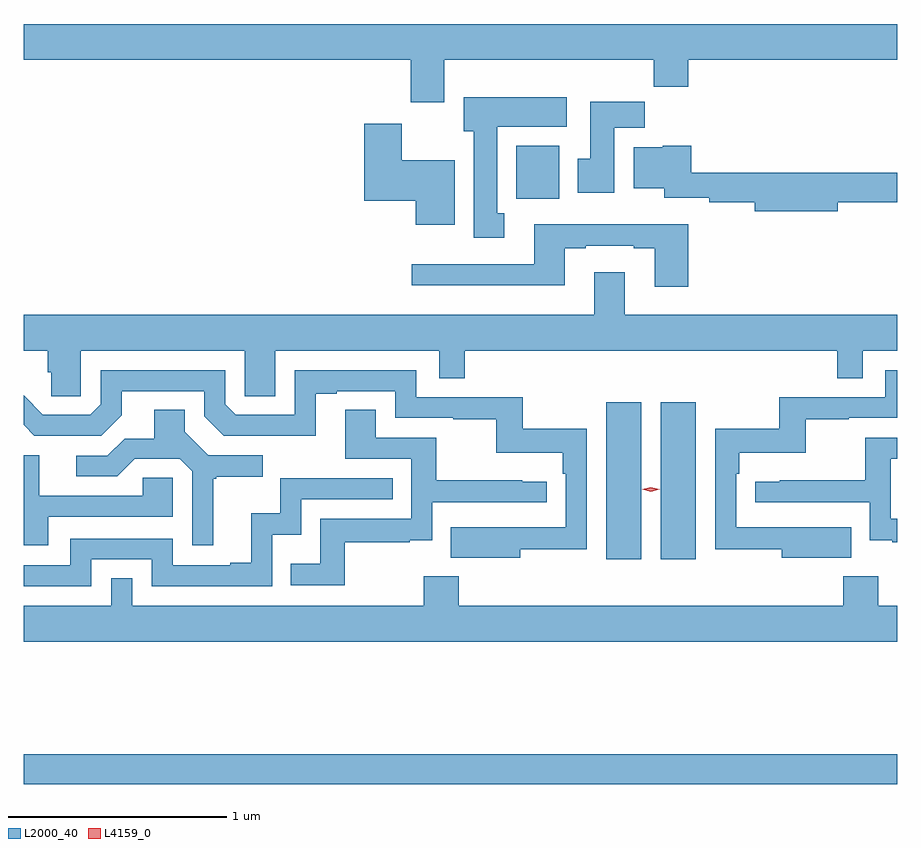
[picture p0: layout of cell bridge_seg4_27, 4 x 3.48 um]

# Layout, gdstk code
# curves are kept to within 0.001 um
import gdstk
lib = gdstk.Library(unit=1e-6, precision=1e-09)
def R(c, l, rs):  # rectangles x0, y0, x1, y1
    for r in rs: c.add(gdstk.rectangle(r[:2], r[2:], *l))
def P(c, l, *ps):  # polygons
    for p in ps: c.add(gdstk.Polygon(p, *l))
L2000_40 = (2000, 40)
L4159_0 = (4159, 0)

bridge_seg4_27 = lib.new_cell('bridge_seg4_27')
R(bridge_seg4_27, L2000_40, [(1116.374,776.188,1120.374,776.324), (1119.041,777.216,1119.202,777.937), (1119.29,777.216,1119.451,777.937), (1118.63,778.868,1118.827,779.11)])
P(bridge_seg4_27, L2000_40, [(1118.299,779.504),(1119.259,779.504),(1119.259,779.38),(1119.416,779.38),(1119.416,779.504),(1120.374,779.504),(1120.374,779.668),(1116.374,779.668),(1116.374,779.504),(1118.147,779.504),(1118.147,779.31),(1118.299,779.31)],
  [(1118.575,778.802),(1118.542,778.802),(1118.542,779.198),(1118.86,779.198),(1118.86,779.332),(1118.39,779.332),(1118.39,779.178),(1118.435,779.178),(1118.435,778.689),(1118.575,778.689)],
  [(1119.079,779.192),(1119.218,779.192),(1119.218,779.311),(1118.969,779.311),(1118.969,779.052),(1118.912,779.052),(1118.912,778.896),(1119.079,778.896)],
  [(1118.347,779.044),(1118.104,779.044),(1118.104,779.212),(1117.934,779.212),(1117.934,778.859),(1118.168,778.859),(1118.168,778.748),(1118.347,778.748)],
  [(1120.102,778.852),(1120.374,778.852),(1120.374,778.988),(1119.431,778.988),(1119.431,779.11),(1119.3,779.11),(1119.3,779.104),(1119.167,779.104),(1119.167,778.916),(1119.308,778.916),(1119.308,778.872),(1119.514,778.872),(1119.514,778.852),(1119.722,778.852),(1119.722,778.81),(1120.102,778.81)],
  [(1119.416,778.75),(1118.711,778.75),(1118.711,778.569),(1118.151,778.569),(1118.151,778.472),(1118.851,778.472),(1118.851,778.641),(1118.947,778.641),(1118.947,778.653),(1119.167,778.653),(1119.167,778.641),(1119.263,778.641),(1119.263,778.464),(1119.416,778.464)],
  [(1116.636,778.172),(1117.386,778.172),(1117.386,777.964),(1117.525,777.964),(1117.525,778.172),(1118.277,778.172),(1118.277,778.045),(1118.393,778.045),(1118.393,778.172),(1120.099,778.172),(1120.099,778.045),(1120.215,778.045),(1120.215,778.172),(1120.374,778.172),(1120.374,778.336),(1119.127,778.336),(1119.127,778.531),(1118.987,778.531),(1118.987,778.336),(1116.374,778.336),(1116.374,778.172),(1116.485,778.172),(1116.485,778.074),(1116.499,778.074),(1116.499,777.964),(1116.636,777.964)],
  [(1118.647,777.262),(1118.952,777.262),(1118.952,777.814),(1118.659,777.814),(1118.659,777.96),(1118.172,777.96),(1118.172,778.083),(1117.614,778.083),(1117.614,777.879),(1117.344,777.879),(1117.296,777.927),(1117.296,778.083),(1116.726,778.083),(1116.726,777.927),(1116.678,777.879),(1116.462,777.879),(1116.374,777.967),(1116.374,777.832),(1116.423,777.783),(1116.729,777.783),(1116.823,777.877),(1116.823,777.987),(1117.2,777.987),(1117.2,777.873),(1117.29,777.783),(1117.711,777.782),(1117.711,777.975),(1117.807,777.975),(1117.807,777.987),(1118.076,777.987),(1118.076,777.864),(1118.341,777.864),(1118.341,777.859),(1118.538,777.859),(1118.538,777.704),(1118.843,777.704),(1118.843,777.608),(1118.856,777.608),(1118.856,777.363),(1118.329,777.364),(1118.329,777.224),(1118.647,777.224)],
  [(1120.163,777.364),(1119.949,777.364),(1119.949,777.363),(1119.636,777.363),(1119.636,777.608),(1119.65,777.608),(1119.65,777.704),(1119.955,777.704),(1119.955,777.859),(1120.151,777.859),(1120.151,777.864),(1120.374,777.864),(1120.374,778.083),(1120.32,778.083),(1120.32,777.96),(1119.834,777.96),(1119.834,777.814),(1119.54,777.814),(1119.54,777.262),(1119.845,777.262),(1119.845,777.224),(1120.163,777.224)],
  [(1117.243,777.585),(1117.255,777.585),(1117.255,777.596),(1117.468,777.596),(1117.468,777.693),(1117.218,777.693),(1117.111,777.8),(1117.111,777.902),(1116.971,777.902),(1116.971,777.77),(1116.836,777.77),(1116.756,777.69),(1116.615,777.69),(1116.615,777.597),(1116.802,777.597),(1116.883,777.678),(1117.089,777.678),(1117.146,777.621),(1117.146,777.282),(1117.243,777.282)],
  [(1117.843,777.294),(1118.141,777.294),(1118.141,777.305),(1118.244,777.305),(1118.244,777.477),(1118.77,777.477),(1118.77,777.573),(1118.657,777.573),(1118.657,777.578),(1118.264,777.578),(1118.264,777.774),(1117.987,777.774),(1117.987,777.902),(1117.847,777.902),(1117.847,777.678),(1118.148,777.678),(1118.148,777.402),(1117.732,777.402),(1117.732,777.196),(1117.597,777.196),(1117.597,777.099),(1117.843,777.099)],
  [(1120.374,777.402),(1120.344,777.402),(1120.344,777.678),(1120.374,777.678),(1120.374,777.774),(1120.228,777.774),(1120.228,777.578),(1119.835,777.578),(1119.835,777.573),(1119.723,777.573),(1119.723,777.477),(1120.248,777.477),(1120.248,777.305),(1120.351,777.305),(1120.351,777.294),(1120.374,777.294)],
  [(1116.487,777.411),(1117.056,777.411),(1117.056,777.591),(1116.919,777.591),(1116.919,777.507),(1116.445,777.507),(1116.445,777.693),(1116.374,777.693),(1116.374,777.282),(1116.487,777.282)],
  [(1116.684,777.216),(1116.96,777.216),(1116.96,777.093),(1117.512,777.093),(1117.512,777.329),(1117.644,777.329),(1117.644,777.492),(1118.063,777.492),(1118.063,777.588),(1117.548,777.588),(1117.548,777.427),(1117.415,777.427),(1117.415,777.202),(1117.319,777.202),(1117.319,777.189),(1117.056,777.189),(1117.056,777.312),(1116.588,777.312),(1116.588,777.189),(1116.374,777.189),(1116.374,777.093),(1116.684,777.093)],
  [(1120.374,777.004),(1120.287,777.004),(1120.287,777.139),(1120.127,777.139),(1120.127,777.004),(1118.366,777.004),(1118.366,777.139),(1118.206,777.139),(1118.206,777.004),(1116.87,777.004),(1116.87,777.131),(1116.774,777.131),(1116.774,777.004),(1116.374,777.004),(1116.374,776.84),(1120.374,776.84)])
P(bridge_seg4_27, L4159_0, [(1119.246,777.527),(1119.206,777.537),(1119.206,777.537),(1119.206,777.537),(1119.246,777.547),(1119.286,777.537),(1119.286,777.537),(1119.286,777.537)])

lib.write_gds('bridge_seg4_27.gds')
